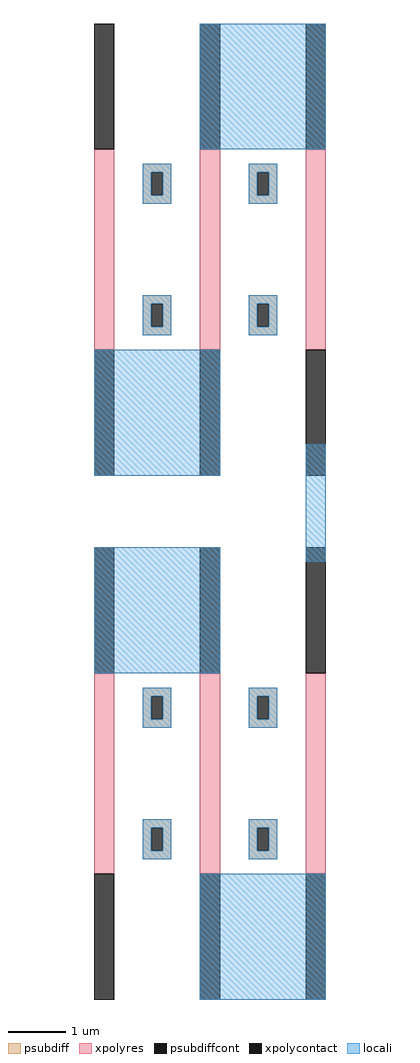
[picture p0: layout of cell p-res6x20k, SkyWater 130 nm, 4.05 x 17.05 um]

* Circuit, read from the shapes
.subckt p-res6x20k GND
XR1 p-res20k_4/2 p-res20k_5/1 GND sky130_fd_pr__res_xhigh_po w=0.35 l=3.5
XR2 p-res20k_1/2 p-res20k_1/1 GND sky130_fd_pr__res_xhigh_po w=0.35 l=3.5
XR3 p-res20k_4/2 p-res20k_4/1 GND sky130_fd_pr__res_xhigh_po w=0.35 l=3.5
XR4 p-res20k_0/1 p-res20k_1/1 GND sky130_fd_pr__res_xhigh_po w=0.35 l=3.5
XR5 p-res20k_3/1 p-res20k_4/1 GND sky130_fd_pr__res_xhigh_po w=0.35 l=3.5
XR6 p-res20k_0/1 p-res20k_3/1 GND sky130_fd_pr__res_xhigh_po w=0.35 l=3.5
.ends

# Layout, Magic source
magic
tech sky130A
<< psubdiff >>
rect 185 530 235 545
rect 185 490 200 530
rect 220 490 235 530
rect 185 475 235 490
rect 0 -615 50 -600
rect 0 -655 15 -615
rect 35 -655 50 -615
rect 0 -670 50 -655
<< psubdiffcont >>
rect 200 490 220 530
rect 15 -655 35 -615
<< locali >>
rect 100 570 320 790
rect 185 530 235 545
rect 185 490 200 530
rect 220 490 235 530
rect 185 475 235 490
rect -85 0 135 220
rect -85 -345 135 -125
rect 285 -150 320 55
rect 0 -615 50 -600
rect 0 -655 15 -615
rect 35 -655 50 -615
rect 0 -670 50 -655
rect 100 -915 320 -695
use p-res20k  p-res20k_4
transform -1 0 135 0 -1 -345
box -100 -220 35 570
use p-res20k  p-res20k_5
transform -1 0 -50 0 -1 -345
box -100 -220 35 570
use p-res20k  p-res20k_3
transform 1 0 285 0 1 -695
box -100 -220 35 570
use p-res20k  p-res20k_2
transform 1 0 285 0 1 220
box -100 -220 35 570
use p-res20k  p-res20k_1
transform -1 0 -50 0 -1 570
box -100 -220 35 570
use p-res20k  p-res20k_0
transform 1 0 100 0 1 220
box -100 -220 35 570
<< end >>

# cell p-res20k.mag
magic
tech sky130A
<< psubdiff >>
rect -100 80 -50 95
rect -100 40 -85 80
rect -65 40 -50 80
rect -100 25 -50 40
<< psubdiffcont >>
rect -85 40 -65 80
<< xpolycontact >>
rect 0 350 35 570
rect 0 -220 35 0
<< xpolyres >>
rect 0 0 35 350
<< locali >>
rect -100 80 -50 95
rect -100 40 -85 80
rect -65 40 -50 80
rect -100 25 -50 40
<< labels >>
rlabel locali -100 55 -100 55 7 GND
rlabel xpolycontact 0 460 0 460 7 1
rlabel xpolycontact 0 -110 0 -110 7 2
<< end >>
